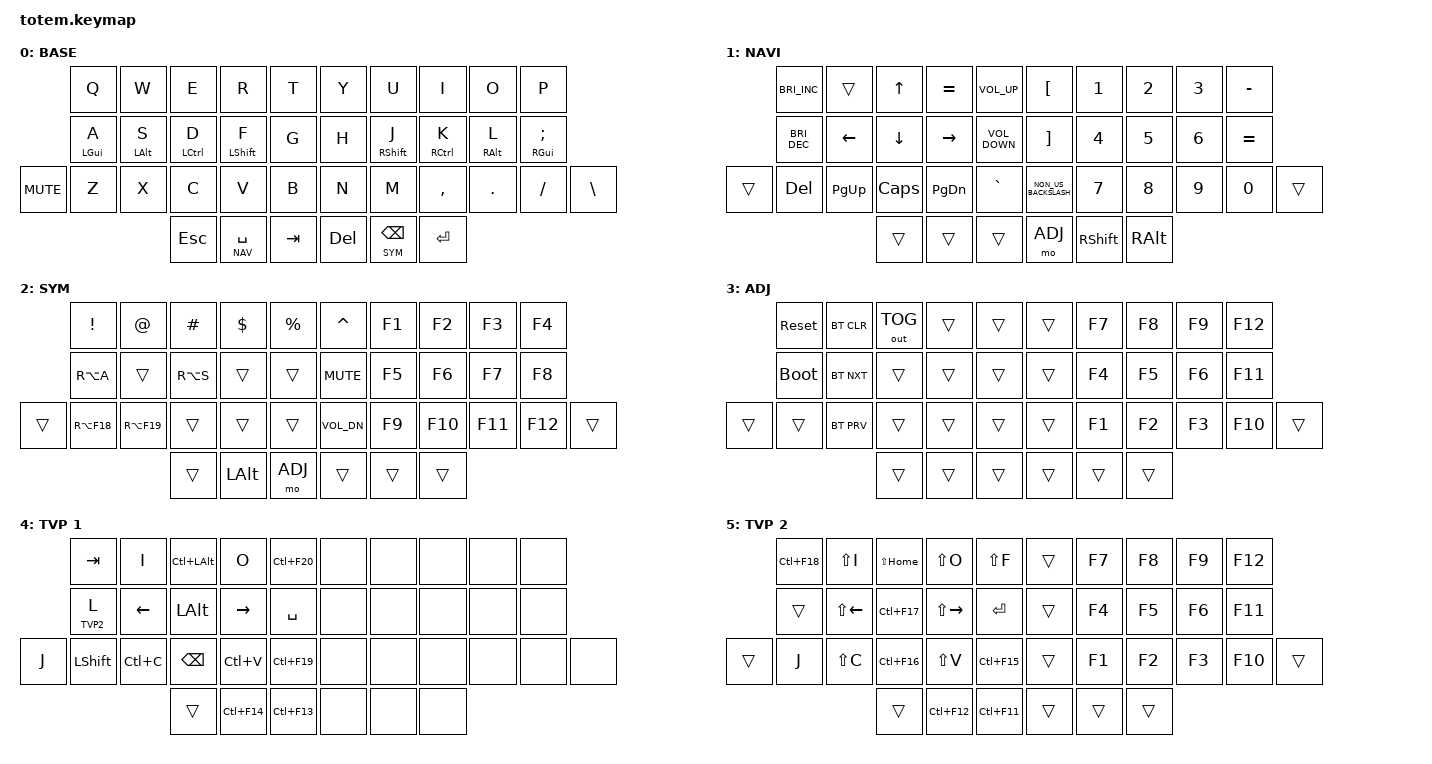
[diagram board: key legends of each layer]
//
//                                                        ▀▀▀▀▀     ▀▀▀▀▀          ▀▀█▀▀
//                                                        ▄▀▀▀▄  ▄  ▄▀▀▀▄  ▄  ▄▀▀▀▄  █  ▄▀▀▀▄
//                                                        █   █  █  █   █  █  █   █  █  █   █
//                                                         ▀▀▀   █   ▀▀▀   █   ▀▀▀   ▀   ▀▀▀
//                                                               █      ▄▄▄█▄▄▄    █   █  
//                                                               ▀      █  █  █     █▄█
//                                                             ▀▀▀▀▀    █  █  █      ▀
//                                                                      ▀  ▀  ▀
//
// ▄▄▄▄▄▄▄▄▄▄▄▄▄▄▄▄▄▄▄▄▄▄▄▄▄▄▄▄▄▄▄▄▄▄▄▄▄▄▄▄▄▄▄▄▄▄▄▄▄▄▄▄▄▄▄▄▄▄▄▄▄▄▄▄▄▄▄▄▄▄▄▄▄▄▄▄▄▄▄▄▄▄▄▄▄▄▄▄▄▄▄▄▄▄▄▄▄▄▄▄▄▄▄▄▄▄▄▄▄▄▄▄▄▄▄▄▄▄▄▄▄▄▄▄▄▄▄▄▄▄▄▄▄▄▄▄▄▄▄▄▄▄▄▄▄▄▄▄▄

#include <behaviors.dtsi>
#include <dt-bindings/zmk/bt.h>
#include <dt-bindings/zmk/keys.h>
#include <dt-bindings/zmk/outputs.h>

#define BASE 0
#define NAV  1
#define SYM  2
#define ADJ  3
#define TVP1 4
#define TVP2 5

&mt {
    quick-tap-ms = <100>;
    global-quick-tap;
    flavor = "tap-preferred";
    tapping-term-ms = <170>;
};

/ {
    combos {
        compatible = "zmk,combos";

        combo_esc {
            timeout-ms = <50>;
            key-positions = <0 1>;
            bindings = <&kp ESC>;
        };

        combo_tvp {
            timeout-ms = <100>;
            key-positions = <11 12 13>;
            bindings = <&tog TVP1>;
        };
    };

    macros {
        gif: gif {
            label = "giphy";
            compatible = "zmk,behavior-macro";
            #binding-cells = <0>;
            bindings =
                <&macro_press>,
                <&kp LSHFT>,
                <&macro_tap>,
                <&kp N2>,
                <&macro_release>,
                <&kp LSHFT>,
                <&macro_tap>,
                <&kp G &kp I &kp F>;
        };
    };

    keymap {
        compatible = "zmk,keymap";

        // ▄▄▄▄▄▄▄▄▄▄▄▄▄▄▄▄▄▄▄▄▄▄▄▄▄▄▄▄▄▄▄▄▄▄▄▄▄▄▄▄▄▄▄▄▄▄▄▄▄▄▄▄▄▄▄▄▄▄▄▄▄▄▄▄▄▄▄▄▄▄▄▄▄▄▄▄▄▄▄▄▄▄▄▄▄▄▄▄▄▄▄▄▄▄▄▄▄▄▄▄▄▄▄▄▄▄▄▄▄▄▄▄▄▄▄▄▄▄▄▄▄▄▄▄▄▄▄▄▄▄▄▄▄▄▄▄▄▄▄▄▄▄▄▄▄▄▄▄▄

        base_layer {
            // ┏━━━━━━━━━━━━━━━━━━━━━━━━━━━━━━━━━━━━━━━┓

            label = "BASE";

            // ┗━━━━━━━━━━━━━━━━━━━━━━━━━━━━━━━━━━━━━━━┛
            //             ┏━━━━━━━━━━━┳━━━━━━━━━━━┳━━━━━━━━━━━┳━━━━━━━━━━━┳━━━━━━━━━━━┓   ┏━━━━━━━━━━━┳━━━━━━━━━━━┳━━━━━━━━━━━┳━━━━━━━━━━━┳━━━━━━━━━━━┓
            //             ┃     Q     ┃     W     ┃     F     ┃     P     ┃     G     ┃   ┃     J     ┃     L     ┃     U     ┃     Y     ┃     ;     ┃
            //             ┣━━━━━━━━━━━╋━━━━━━━━━━━╋━━━━━━━━━━━╋━━━━━━━━━━━╋━━━━━━━━━━━┫   ┣━━━━━━━━━━━╋━━━━━━━━━━━╋━━━━━━━━━━━╋━━━━━━━━━━━╋━━━━━━━━━━━┫
            //             ┃     A     ┃     R     ┃     S     ┃     T     ┃     D     ┃   ┃     H     ┃     N     ┃     E     ┃     I     ┃     O     ┃
            // ┏━━━━━━━━━━━╋━━━━━━━━━━━╋━━━━━━━━━━━╋━━━━━━━━━━━╋━━━━━━━━━━━╋━━━━━━━━━━━┫   ┣━━━━━━━━━━━╋━━━━━━━━━━━╋━━━━━━━━━━━╋━━━━━━━━━━━╋━━━━━━━━━━━╋━━━━━━━━━━━┓
            // ┃     Q     ┃     Z     ┃     X     ┃     C     ┃     V     ┃     B     ┃   ┃     K     ┃     M     ┃     ,     ┃     .     ┃     /     ┃     \     ┃
            // ┗━━━━━━━━━━━┻━━━━━━━━━━━┻━━━━━━━━━━━╋━━━━━━━━━━━╋━━━━━━━━━━━╋━━━━━━━━━━━┫   ┣━━━━━━━━━━━╋━━━━━━━━━━━╋━━━━━━━━━━━╋━━━━━━━━━━━┻━━━━━━━━━━━┻━━━━━━━━━━━┛
            //                                     ┃    DEL    ┃    TAB    ┃    SPC    ┃   ┃   ENTER   ┃           ┃   BSPC    ┃
            //                                     ┗━━━━━━━━━━━┻━━━━━━━━━━━┻━━━━━━━━━━━┛   ┗━━━━━━━━━━━┻━━━━━━━━━━━┻━━━━━━━━━━━┛

            bindings = <
            &kp Q       &kp W       &kp E        &kp R          &kp T      &kp Y    &kp U              &kp I        &kp O       &kp P
            &mt LGUI A  &mt LALT S  &mt LCTRL D  &mt LSHFT F    &kp G      &kp H    &mt RSHFT J        &mt RCTRL K  &mt RALT L  &mt RGUI SEMICOLON
&kp C_MUTE  &kp Z       &kp X       &kp C        &kp V          &kp B      &kp N    &kp M              &kp COMMA    &kp DOT     &kp FSLH            &kp BSLH
                                    &kp ESCAPE   &lt NAV SPACE  &kp TAB    &kp DEL  &lt SYM BACKSPACE  &kp ENTER
            >;
        };

        // ▄▄▄▄▄▄▄▄▄▄▄▄▄▄▄▄▄▄▄▄▄▄▄▄▄▄▄▄▄▄▄▄▄▄▄▄▄▄▄▄▄▄▄▄▄▄▄▄▄▄▄▄▄▄▄▄▄▄▄▄▄▄▄▄▄▄▄▄▄▄▄▄▄▄▄▄▄▄▄▄▄▄▄▄▄▄▄▄▄▄▄▄▄▄▄▄▄▄▄▄▄▄▄▄▄▄▄▄▄▄▄▄▄▄▄▄▄▄▄▄▄▄▄▄▄▄▄▄▄▄▄▄▄▄▄▄▄▄▄▄▄▄▄▄▄▄▄▄▄

        nav_layer {
            // ┏━━━━━━━━━━━━━━━━━━━━━━━━━━━━━━━━━━━━━━━┓

            label = "NAVI";

            // ┗━━━━━━━━━━━━━━━━━━━━━━━━━━━━━━━━━━━━━━━┛
            //             ┏━━━━━━━━━━━┳━━━━━━━━━━━┳━━━━━━━━━━━┳━━━━━━━━━━━┳━━━━━━━━━━━┓   ┏━━━━━━━━━━━┳━━━━━━━━━━━┳━━━━━━━━━━━┳━━━━━━━━━━━┳━━━━━━━━━━━┓
            //             ┃           ┃           ┃     UP    ┃           ┃     {     ┃   ┃     }     ┃     7     ┃     8     ┃     9     ┃     +     ┃
            //             ┣━━━━━━━━━━━╋━━━━━━━━━━━╋━━━━━━━━━━━╋━━━━━━━━━━━╋━━━━━━━━━━━┫   ┣━━━━━━━━━━━╋━━━━━━━━━━━╋━━━━━━━━━━━╋━━━━━━━━━━━╋━━━━━━━━━━━┫
            //             ┃   SHIFT   ┃   LEFT    ┃    DOWN   ┃   RIGHT   ┃     [     ┃   ┃     ]     ┃     4     ┃     5     ┃     6     ┃     -     ┃
            // ┏━━━━━━━━━━━╋━━━━━━━━━━━╋━━━━━━━━━━━╋━━━━━━━━━━━╋━━━━━━━━━━━╋━━━━━━━━━━━┫   ┣━━━━━━━━━━━╋━━━━━━━━━━━╋━━━━━━━━━━━╋━━━━━━━━━━━╋━━━━━━━━━━━╋━━━━━━━━━━━┓
            // ┃           ┃           ┃   P UP    ┃  C LOCK   ┃  P DOWN   ┃     (     ┃   ┃     )     ┃     1     ┃     2     ┃     3     ┃     *     ┃           ┃
            // ┗━━━━━━━━━━━┻━━━━━━━━━━━┻━━━━━━━━━━━╋━━━━━━━━━━━╋━━━━━━━━━━━╋━━━━━━━━━━━┫   ┣━━━━━━━━━━━╋━━━━━━━━━━━╋━━━━━━━━━━━╋━━━━━━━━━━━┻━━━━━━━━━━━┻━━━━━━━━━━━┛
            //                                     ┃           ┃    TAB    ┃    SPC    ┃   ┃    DEL    ┃     0     ┃           ┃
            //                                     ┗━━━━━━━━━━━┻━━━━━━━━━━━┻━━━━━━━━━━━┛   ┗━━━━━━━━━━━┻━━━━━━━━━━━┻━━━━━━━━━━━┛

            bindings = <
        &kp C_BRIGHTNESS_INC  &trans     &kp UP    &kp EQUAL  &kp C_VOLUME_UP      &kp LEFT_BRACKET      &kp NUMBER_1     &kp NUMBER_2   &kp NUMBER_3  &kp MINUS
        &kp C_BRIGHTNESS_DEC  &kp LEFT   &kp DOWN  &kp RIGHT  &kp C_VOLUME_DOWN    &kp RIGHT_BRACKET     &kp NUMBER_4     &kp N5         &kp NUMBER_6  &kp EQUAL
&trans  &kp DEL               &kp PG_UP  &kp CAPS  &kp PG_DN  &kp GRAVE            &kp NON_US_BACKSLASH  &kp N7           &kp N8         &kp N9        &kp N0     &trans
                                         &trans    &trans     &trans               &mo ADJ               &kp RIGHT_SHIFT  &kp RIGHT_ALT
            >;
        };

        // ▄▄▄▄▄▄▄▄▄▄▄▄▄▄▄▄▄▄▄▄▄▄▄▄▄▄▄▄▄▄▄▄▄▄▄▄▄▄▄▄▄▄▄▄▄▄▄▄▄▄▄▄▄▄▄▄▄▄▄▄▄▄▄▄▄▄▄▄▄▄▄▄▄▄▄▄▄▄▄▄▄▄▄▄▄▄▄▄▄▄▄▄▄▄▄▄▄▄▄▄▄▄▄▄▄▄▄▄▄▄▄▄▄▄▄▄▄▄▄▄▄▄▄▄▄▄▄▄▄▄▄▄▄▄▄▄▄▄▄▄▄▄▄▄▄▄▄▄▄

        sim_layer {
            // ┏━━━━━━━━━━━━━━━━━━━━━━━━━━━━━━━━━━━━━━━┓

            label = "SYM";

            // ┗━━━━━━━━━━━━━━━━━━━━━━━━━━━━━━━━━━━━━━━┛
            //             ┏━━━━━━━━━━━┳━━━━━━━━━━━┳━━━━━━━━━━━┳━━━━━━━━━━━┳━━━━━━━━━━━┓   ┏━━━━━━━━━━━┳━━━━━━━━━━━┳━━━━━━━━━━━┳━━━━━━━━━━━┳━━━━━━━━━━━┓
            //             ┃     !     ┃     @     ┃     #     ┃     $     ┃     %     ┃   ┃     ˆ     ┃     &     ┃     Ü     ┃     '     ┃     "     ┃
            //             ┣━━━━━━━━━━━╋━━━━━━━━━━━╋━━━━━━━━━━━╋━━━━━━━━━━━╋━━━━━━━━━━━┫   ┣━━━━━━━━━━━╋━━━━━━━━━━━╋━━━━━━━━━━━╋━━━━━━━━━━━╋━━━━━━━━━━━┫
            //             ┃     Ä     ┃           ┃    SZ     ┃           ┃           ┃   ┃   MUTE    ┃   YEN     ┃   EURO    ┃  POUND    ┃     Ö     ┃
            // ┏━━━━━━━━━━━╋━━━━━━━━━━━╋━━━━━━━━━━━╋━━━━━━━━━━━╋━━━━━━━━━━━╋━━━━━━━━━━━┫   ┣━━━━━━━━━━━╋━━━━━━━━━━━╋━━━━━━━━━━━╋━━━━━━━━━━━╋━━━━━━━━━━━╋━━━━━━━━━━━┓
            // ┃           ┃  EMAIL1   ┃  EMAIL2   ┃           ┃           ┃           ┃   ┃   VOL-    ┃   VOL+    ┃   LAST    ┃   NEXT    ┃     \     ┃           ┃
            // ┗━━━━━━━━━━━┻━━━━━━━━━━━┻━━━━━━━━━━━╋━━━━━━━━━━━╋━━━━━━━━━━━╋━━━━━━━━━━━┫   ┣━━━━━━━━━━━╋━━━━━━━━━━━╋━━━━━━━━━━━╋━━━━━━━━━━━┻━━━━━━━━━━━┻━━━━━━━━━━━┛
            //                                     ┃           ┃    GIF    ┃    ADJ    ┃   ┃           ┃           ┃           ┃
            //                                     ┗━━━━━━━━━━━┻━━━━━━━━━━━┻━━━━━━━━━━━┛   ┗━━━━━━━━━━━┻━━━━━━━━━━━┻━━━━━━━━━━━┛

            bindings = <
        &kp EXCL     &kp AT       &kp HASH   &kp DLLR      &kp PRCNT    &kp CARET     &kp F1  &kp F2   &kp F3   &kp F4
        &kp RA(A)    &trans       &kp RA(S)  &trans        &trans       &kp C_MUTE    &kp F5  &kp F6   &kp F7   &kp F8
&trans  &kp RA(F18)  &kp RA(F19)  &trans     &trans        &trans       &kp C_VOL_DN  &kp F9  &kp F10  &kp F11  &kp F12  &trans
                                  &trans     &kp LEFT_ALT  &mo ADJ      &trans        &trans  &trans
            >;
        };

        // ▄▄▄▄▄▄▄▄▄▄▄▄▄▄▄▄▄▄▄▄▄▄▄▄▄▄▄▄▄▄▄▄▄▄▄▄▄▄▄▄▄▄▄▄▄▄▄▄▄▄▄▄▄▄▄▄▄▄▄▄▄▄▄▄▄▄▄▄▄▄▄▄▄▄▄▄▄▄▄▄▄▄▄▄▄▄▄▄▄▄▄▄▄▄▄▄▄▄▄▄▄▄▄▄▄▄▄▄▄▄▄▄▄▄▄▄▄▄▄▄▄▄▄▄▄▄▄▄▄▄▄▄▄▄▄▄▄▄▄▄▄▄▄▄▄▄▄▄▄

        adjust_layer {
            // ┏━━━━━━━━━━━━━━━━━━━━━━━━━━━━━━━━━━━━━━━┓

            label = "ADJ";

            // ┗━━━━━━━━━━━━━━━━━━━━━━━━━━━━━━━━━━━━━━━┛
            //             ┏━━━━━━━━━━━┳━━━━━━━━━━━┳━━━━━━━━━━━┳━━━━━━━━━━━┳━━━━━━━━━━━┓   ┏━━━━━━━━━━━┳━━━━━━━━━━━┳━━━━━━━━━━━┳━━━━━━━━━━━┳━━━━━━━━━━━┓
            //             ┃   RESET   ┃ BT CLEAR  ┃  OUT TOG  ┃           ┃           ┃   ┃           ┃    F7     ┃    F8     ┃    F9     ┃    F12    ┃
            //             ┣━━━━━━━━━━━╋━━━━━━━━━━━╋━━━━━━━━━━━╋━━━━━━━━━━━╋━━━━━━━━━━━┫   ┣━━━━━━━━━━━╋━━━━━━━━━━━╋━━━━━━━━━━━╋━━━━━━━━━━━╋━━━━━━━━━━━┫
            //             ┃ BOOTLOAD  ┃ BT NEXT   ┃           ┃           ┃           ┃   ┃           ┃    F4     ┃    F5     ┃    F6     ┃    F11    ┃
            // ┏━━━━━━━━━━━╋━━━━━━━━━━━╋━━━━━━━━━━━╋━━━━━━━━━━━╋━━━━━━━━━━━╋━━━━━━━━━━━┫   ┣━━━━━━━━━━━╋━━━━━━━━━━━╋━━━━━━━━━━━╋━━━━━━━━━━━╋━━━━━━━━━━━╋━━━━━━━━━━━┓
            // ┃           ┃           ┃ BT PREV   ┃           ┃           ┃           ┃   ┃           ┃    F1     ┃    F2     ┃    F3     ┃    F10    ┃           ┃
            // ┗━━━━━━━━━━━┻━━━━━━━━━━━┻━━━━━━━━━━━╋━━━━━━━━━━━╋━━━━━━━━━━━╋━━━━━━━━━━━┫   ┣━━━━━━━━━━━╋━━━━━━━━━━━╋━━━━━━━━━━━╋━━━━━━━━━━━┻━━━━━━━━━━━┻━━━━━━━━━━━┛
            //                                     ┃           ┃           ┃           ┃   ┃           ┃           ┃           ┃
            //                                     ┗━━━━━━━━━━━┻━━━━━━━━━━━┻━━━━━━━━━━━┛   ┗━━━━━━━━━━━┻━━━━━━━━━━━┻━━━━━━━━━━━┛

            bindings = <
        &sys_reset   &bt BT_CLR  &out OUT_TOG  &trans  &trans    &trans  &kp F7  &kp F8  &kp F9  &kp F12
        &bootloader  &bt BT_NXT  &trans        &trans  &trans    &trans  &kp F4  &kp F5  &kp F6  &kp F11
&trans  &trans       &bt BT_PRV  &trans        &trans  &trans    &trans  &kp F1  &kp F2  &kp F3  &kp F10  &trans
                                 &trans        &trans  &trans    &trans  &trans  &trans
            >;
        };

        // ▄▄▄▄▄▄▄▄▄▄▄▄▄▄▄▄▄▄▄▄▄▄▄▄▄▄▄▄▄▄▄▄▄▄▄▄▄▄▄▄▄▄▄▄▄▄▄▄▄▄▄▄▄▄▄▄▄▄▄▄▄▄▄▄▄▄▄▄▄▄▄▄▄▄▄▄▄▄▄▄▄▄▄▄▄▄▄▄▄▄▄▄▄▄▄▄▄▄▄▄▄▄▄▄▄▄▄▄▄▄▄▄▄▄▄▄▄▄▄▄▄▄▄▄▄▄▄▄▄▄▄▄▄▄▄▄▄▄▄▄▄▄▄▄▄▄▄▄▄

        tvp1_layer {
            // ┏━━━━━━━━━━━━━━━━━━━━━━━━━━━━━━━━━━━━━━━┓

            label = "TVP 1";

            // ┗━━━━━━━━━━━━━━━━━━━━━━━━━━━━━━━━━━━━━━━┛
            //             ┏━━━━━━━━━━━┳━━━━━━━━━━━┳━━━━━━━━━━━┳━━━━━━━━━━━┳━━━━━━━━━━━┓   ┏━━━━━━━━━━━┳━━━━━━━━━━━┳━━━━━━━━━━━┳━━━━━━━━━━━┳━━━━━━━━━━━┓
            //             ┃ NEXT FILE ┃ MARK IN   ┃ ROTATE    ┃ MARK OUT  ┃ SHOW SNAP ┃   ┃           ┃           ┃           ┃           ┃           ┃
            //             ┣━━━━━━━━━━━╋━━━━━━━━━━━╋━━━━━━━━━━━╋━━━━━━━━━━━╋━━━━━━━━━━━┫   ┣━━━━━━━━━━━╋━━━━━━━━━━━╋━━━━━━━━━━━╋━━━━━━━━━━━╋━━━━━━━━━━━┫
            //             ┃ TVP II    ┃ LEFT      ┃ PAN       ┃ RIGHT     ┃ PLAY/FLIP ┃   ┃           ┃           ┃           ┃           ┃           ┃
            // ┏━━━━━━━━━━━╋━━━━━━━━━━━╋━━━━━━━━━━━╋━━━━━━━━━━━╋━━━━━━━━━━━╋━━━━━━━━━━━┫   ┣━━━━━━━━━━━╋━━━━━━━━━━━╋━━━━━━━━━━━╋━━━━━━━━━━━╋━━━━━━━━━━━╋━━━━━━━━━━━┓
            // ┃ FULLSCR   ┃ SHIFT     ┃ COPY      ┃ DELETE    ┃ PASTE     ┃ IMG MARK  ┃   ┃           ┃           ┃           ┃           ┃           ┃           ┃
            // ┗━━━━━━━━━━━┻━━━━━━━━━━━┻━━━━━━━━━━━╋━━━━━━━━━━━╋━━━━━━━━━━━╋━━━━━━━━━━━┫   ┣━━━━━━━━━━━╋━━━━━━━━━━━╋━━━━━━━━━━━╋━━━━━━━━━━━┻━━━━━━━━━━━┻━━━━━━━━━━━┛
            //                                     ┃           ┃ UNDO/SAVE ┃  SEL/MOV  ┃   ┃           ┃           ┃           ┃
            //                                     ┗━━━━━━━━━━━┻━━━━━━━━━━━┻━━━━━━━━━━━┛   ┗━━━━━━━━━━━┻━━━━━━━━━━━┻━━━━━━━━━━━┛

            bindings = <
       &kp TAB     &kp I      &kp LC(LALT)  &kp O        &kp LC(F20)    &none  &none  &none  &none  &none
       &lt TVP2 L  &kp LEFT   &kp LALT      &kp RIGHT    &kp SPACE      &none  &none  &none  &none  &none
&kp J  &kp LSHFT   &kp LC(C)  &kp BSPC      &kp LC(V)    &kp LC(F19)    &none  &none  &none  &none  &none  &none
                              &trans        &kp LC(F14)  &kp LC(F13)    &none  &none  &none
            >;
        };

        // ▄▄▄▄▄▄▄▄▄▄▄▄▄▄▄▄▄▄▄▄▄▄▄▄▄▄▄▄▄▄▄▄▄▄▄▄▄▄▄▄▄▄▄▄▄▄▄▄▄▄▄▄▄▄▄▄▄▄▄▄▄▄▄▄▄▄▄▄▄▄▄▄▄▄▄▄▄▄▄▄▄▄▄▄▄▄▄▄▄▄▄▄▄▄▄▄▄▄▄▄▄▄▄▄▄▄▄▄▄▄▄▄▄▄▄▄▄▄▄▄▄▄▄▄▄▄▄▄▄▄▄▄▄▄▄▄▄▄▄▄▄▄▄▄▄▄▄▄▄

        tvp2_layer {
            // ┏━━━━━━━━━━━━━━━━━━━━━━━━━━━━━━━━━━━━━━━┓

            label = "TVP 2";

            // ┗━━━━━━━━━━━━━━━━━━━━━━━━━━━━━━━━━━━━━━━┛
            //             ┏━━━━━━━━━━━┳━━━━━━━━━━━┳━━━━━━━━━━━┳━━━━━━━━━━━┳━━━━━━━━━━━┓   ┏━━━━━━━━━━━┳━━━━━━━━━━━┳━━━━━━━━━━━┳━━━━━━━━━━━┳━━━━━━━━━━━┓
            //             ┃ SOLO      ┃ TOGGLE IN ┃ RESET ROT ┃ TOGGLE OUT┃ TAKE SNAP ┃   ┃           ┃           ┃           ┃           ┃           ┃
            //             ┣━━━━━━━━━━━╋━━━━━━━━━━━╋━━━━━━━━━━━╋━━━━━━━━━━━╋━━━━━━━━━━━┫   ┣━━━━━━━━━━━╋━━━━━━━━━━━╋━━━━━━━━━━━╋━━━━━━━━━━━╋━━━━━━━━━━━┫
            //             ┃ ---       ┃ LAST KEY  ┃ NEW KEY   ┃ NEXT KEY  ┃ ENTER     ┃   ┃           ┃           ┃           ┃           ┃           ┃
            // ┏━━━━━━━━━━━╋━━━━━━━━━━━╋━━━━━━━━━━━╋━━━━━━━━━━━╋━━━━━━━━━━━╋━━━━━━━━━━━┫   ┣━━━━━━━━━━━╋━━━━━━━━━━━╋━━━━━━━━━━━╋━━━━━━━━━━━╋━━━━━━━━━━━╋━━━━━━━━━━━┓
            // ┃           ┃ FULLSCR   ┃ CPY2BRUSH ┃ DEL HEAD  ┃ PSTinPLACE┃ BOOK MARK ┃   ┃           ┃           ┃           ┃           ┃           ┃           ┃
            // ┗━━━━━━━━━━━┻━━━━━━━━━━━┻━━━━━━━━━━━╋━━━━━━━━━━━╋━━━━━━━━━━━╋━━━━━━━━━━━┫   ┣━━━━━━━━━━━╋━━━━━━━━━━━╋━━━━━━━━━━━╋━━━━━━━━━━━┻━━━━━━━━━━━┻━━━━━━━━━━━┛
            //                                     ┃           ┃ REDO/SAV1 ┃TRANS/WARP ┃   ┃           ┃           ┃           ┃
            //                                     ┗━━━━━━━━━━━┻━━━━━━━━━━━┻━━━━━━━━━━━┛   ┗━━━━━━━━━━━┻━━━━━━━━━━━┻━━━━━━━━━━━┛

            bindings = <
        &kp LC(F18)  &kp LS(I)     &kp LS(HOME)  &kp LS(O)      &kp LS(F)      &trans  &kp F7  &kp F8  &kp F9  &kp F12
        &trans       &kp LS(LEFT)  &kp LC(F17)   &kp LS(RIGHT)  &kp RET        &trans  &kp F4  &kp F5  &kp F6  &kp F11
&trans  &kp J        &kp LS(C)     &kp LC(F16)   &kp LS(V)      &kp LC(F15)    &trans  &kp F1  &kp F2  &kp F3  &kp F10  &trans
                                   &trans        &kp LC(F12)    &kp LC(F11)    &trans  &trans  &trans
            >;
        };
    };
};
